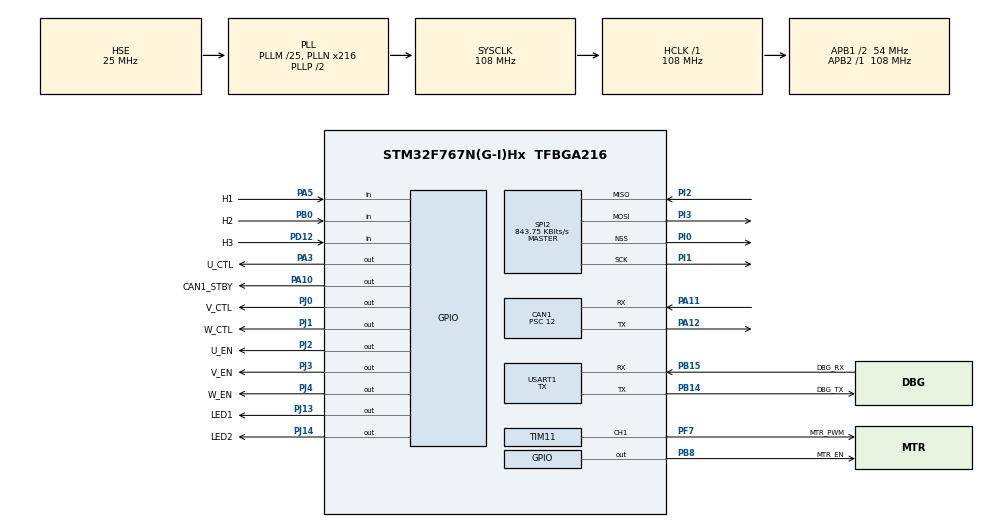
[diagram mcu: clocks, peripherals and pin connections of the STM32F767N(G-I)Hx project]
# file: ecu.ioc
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CAN1.ABOM=ENABLE
CAN1.AWUM=ENABLE
CAN1.BS1=CAN_BS1_15TQ
CAN1.BS2=CAN_BS2_2TQ
CAN1.CalculateBaudRate=250000
CAN1.CalculateTimeBit=4000
CAN1.CalculateTimeQuantum=222.22222222222223
CAN1.NART=ENABLE
CAN1.Prescaler=12
CAN1.TXFP=ENABLE
CORTEX_M7.CPU_DCache=Enabled
CORTEX_M7.CPU_ICache=Enabled
CORTEX_M7.MPU_Control=__NULL
CORTEX_M7.PREFETCH_ENABLE=1
FREERTOS.Queues01=EcoQueueUART1,256,uint8_t,0,Static,EcoQueueUART1Buffer,EcoQueueUART1CtrlBlock;EcoQueueNMEA2KRX1,32,uint8_t,0,Static,EcoQueueNMEA2KRX1Buffer,EcoQueueNMEA2KRX1CtrlBlock;EcoQueueNMEA2KTX1,384,uint8_t,0,Static,EcoQueueNMEA2KTX1Buffer,EcoQueueNMEA2KTX1CtrlBlock
FREERTOS.Tasks01=EcoTaskMain,24,4096,runEcoTaskMain,As weak,NULL,Dynamic,NULL,NULL;EcoTaskUART,24,1024,runEcoTaskUART,As weak,NULL,Dynamic,NULL,NULL;EcoTaskNMEA2KRx,40,1024,runEcoTaskNMEA2KRx,As weak,NULL,Dynamic,NULL,NULL;EcoTaskNMEA2KTx,24,1024,runEcoTaskNMEA2KTx,As weak,NULL,Dynamic,NULL,NULL;EcoTaskMTR,40,2048,runEcoTaskMTR,As external,NULL,Dynamic,NULL,NULL
FREERTOS.configMINIMAL_STACK_SIZE=128
FREERTOS.configTOTAL_HEAP_SIZE=0xC000
FREERTOS.configUSE_NEWLIB_REENTRANT=1
Mcu.Family=STM32F7
Mcu.Name=STM32F767N(G-I)Hx
Mcu.Package=TFBGA216
NVIC.CAN1_RX0_IRQn=true\:5\:0\:false\:false\:true\:true\:true\:true\:true
NVIC.CAN1_TX_IRQn=true\:5\:0\:false\:false\:true\:true\:true\:true\:true
NVIC.PriorityGroup=NVIC_PRIORITYGROUP_4
NVIC.TIM6_DAC_IRQn=true\:15\:0\:false\:false\:true\:false\:false\:true\:true
NVIC.TIM7_IRQn=true\:5\:0\:false\:false\:true\:true\:true\:true\:true
NVIC.TimeBase=TIM6_DAC_IRQn
NVIC.TimeBaseIP=TIM6
NVIC.USART1_IRQn=true\:5\:0\:false\:false\:true\:true\:true\:true\:true
PA10.GPIO_Label=CAN1_STBY
PA10.Signal=GPIO_Output
PA11.Mode=CAN_Activate
PA11.Signal=CAN1_RX
PA12.Mode=CAN_Activate
PA12.Signal=CAN1_TX
PA13.Mode=Serial_Wire
PA13.Signal=SYS_JTMS-SWDIO
PA14.Mode=Serial_Wire
PA14.Signal=SYS_JTCK-SWCLK
PA3.GPIO_Label=U_CTL
PA3.GPIO_Speed=GPIO_SPEED_FREQ_VERY_HIGH
PA3.Signal=GPIO_Output
PA5.GPIO_Label=H1
PA5.Signal=GPIO_Input
PB0.GPIO_Label=H2
PB0.Signal=GPIO_Input
PB14.GPIO_Label=DBG_TX
PB14.Mode=Asynchronous
PB14.Signal=USART1_TX
PB15.GPIO_Label=DBG_RX
PB15.Mode=Asynchronous
PB15.Signal=USART1_RX
PB8.GPIO_Label=MTR_EN
PB8.Signal=GPIO_Output
PD12.GPIO_Label=H3
PD12.Signal=GPIO_Input
PF7.GPIO_Label=MTR_PWM
PF7.Signal=S_TIM11_CH1
PH0/OSC_IN.Mode=HSE-External-Oscillator
PH0/OSC_IN.Signal=RCC_OSC_IN
PH1/OSC_OUT.Mode=HSE-External-Oscillator
PH1/OSC_OUT.Signal=RCC_OSC_OUT
PI0.Mode=NSS_Signal_Hard_Output
PI0.Signal=SPI2_NSS
PI1.Mode=Full_Duplex_Master
PI1.Signal=SPI2_SCK
PI2.Mode=Full_Duplex_Master
PI2.Signal=SPI2_MISO
PI3.Mode=Full_Duplex_Master
PI3.Signal=SPI2_MOSI
PJ0.GPIO_Label=V_CTL
PJ0.GPIO_Speed=GPIO_SPEED_FREQ_VERY_HIGH
PJ0.Signal=GPIO_Output
PJ1.GPIO_Label=W_CTL
PJ1.GPIO_Speed=GPIO_SPEED_FREQ_VERY_HIGH
PJ1.Signal=GPIO_Output
PJ13.GPIO_Label=LED1
PJ13.Signal=GPIO_Output
PJ14.GPIO_Label=LED2
PJ14.PinState=GPIO_PIN_SET
PJ14.Signal=GPIO_Output
PJ2.GPIO_Label=U_EN
PJ2.GPIO_Speed=GPIO_SPEED_FREQ_VERY_HIGH
PJ2.Signal=GPIO_Output
PJ3.GPIO_Label=V_EN
PJ3.GPIO_Speed=GPIO_SPEED_FREQ_VERY_HIGH
PJ3.Signal=GPIO_Output
PJ4.GPIO_Label=W_EN
PJ4.GPIO_Speed=GPIO_SPEED_FREQ_VERY_HIGH
PJ4.Signal=GPIO_Output
ProjectManager.HeapSize=0x1000
ProjectManager.StackSize=0x1000
ProjectManager.TargetToolchain=STM32CubeIDE
RCC.AHBFreq_Value=108000000
RCC.APB1CLKDivider=RCC_HCLK_DIV2
RCC.APB1Freq_Value=54000000
RCC.APB1TimFreq_Value=108000000
RCC.APB2Freq_Value=108000000
RCC.APB2TimFreq_Value=108000000
RCC.CortexFreq_Value=108000000
RCC.HCLKFreq_Value=108000000
RCC.HSE_VALUE=25000000
RCC.HSI_VALUE=16000000
RCC.LSE_VALUE=32768
RCC.PLLM=25
RCC.PLLN=216
RCC.PLLSAIN=400
RCC.PLLSAIR=4
RCC.PLLSAIRDiv=RCC_PLLSAIDIVR_4
RCC.PLLSourceVirtual=RCC_PLLSOURCE_HSE
RCC.SYSCLKFreq_VALUE=108000000
RCC.SYSCLKSource=RCC_SYSCLKSOURCE_PLLCLK
RCC.USBFreq_Value=108000000
RCC.VCOOutputFreq_Value=216000000
SH.S_TIM11_CH1.0=TIM11_CH1,PWM Generation1 CH1
SPI2.BaudRatePrescaler=SPI_BAUDRATEPRESCALER_64
SPI2.CalculateBaudRate=843.75 KBits/s
SPI2.DataSize=SPI_DATASIZE_16BIT
SPI2.Direction=SPI_DIRECTION_2LINES
SPI2.Mode=SPI_MODE_MASTER
SPI2.TIMode=SPI_TIMODE_ENABLE
SPI2.VirtualNSS=VM_NSSHARD
SPI2.VirtualType=VM_MASTER
STMicroelectronics.X-CUBE-TOUCHGFX.4.23.0.tgfx_address1=0xC0000000
STMicroelectronics.X-CUBE-TOUCHGFX.4.23.0.tgfx_display_interface=disp_ltdc
STMicroelectronics.X-CUBE-TOUCHGFX.4.23.0.tgfx_hardware_accelerator=dma_2d
STMicroelectronics.X-CUBE-TOUCHGFX.4.23.0.tgfx_location=By Address
STMicroelectronics.X-CUBE-TOUCHGFX.4.23.0.tgfx_vsync=vsync_ltdc
STMicroelectronics.X-CUBE-TOUCHGFX.4.23.0_IsPackSelfContextualization=true
TIM11.Channel=TIM_CHANNEL_1
TIM11.Period=100-1
TIM11.Prescaler=108-1
TIM11.Pulse=100-1
TIM7.AutoReloadPreload=TIM_AUTORELOAD_PRELOAD_ENABLE
TIM7.Period=10000-1
TIM7.Prescaler=10800-1
USART1.Mode=MODE_TX
USART1.VirtualMode-Asynchronous=VM_ASYNC
VP_FREERTOS_VS_CMSIS_V2.Mode=CMSIS_V2
VP_SYS_VS_tim6.Mode=TIM6
VP_TIM11_VS_ClockSourceINT.Mode=Enable_Timer
VP_TIM7_VS_ClockSourceINT.Mode=Enable_Timer
board=custom

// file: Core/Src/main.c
/* USER CODE BEGIN Header */
/**
  ******************************************************************************
  * @file           : main.c
  * @brief          : Main program body
  ******************************************************************************
  * @attention
  *
  * Copyright (c) 2024 STMicroelectronics.
  * All rights reserved.
  *
  * This software is licensed under terms that can be found in the LICENSE file
  * in the root directory of this software component.
  * If no LICENSE file comes with this software, it is provided AS-IS.
  *
  ******************************************************************************
  */
/* USER CODE END Header */
#include "main.h"
#include "cmsis_os.h"

typedef StaticQueue_t osStaticMessageQDef_t;

CAN_HandleTypeDef hcan1;

SPI_HandleTypeDef hspi2;

TIM_HandleTypeDef htim7;
TIM_HandleTypeDef htim11;

UART_HandleTypeDef huart1;

/* Definitions for EcoTaskMain */
osThreadId_t EcoTaskMainHandle;
const osThreadAttr_t EcoTaskMain_attributes = {
  .name = "EcoTaskMain",
  .stack_size = 4096 * 4,
  .priority = (osPriority_t) osPriorityNormal,
};
/* Definitions for EcoTaskUART */
osThreadId_t EcoTaskUARTHandle;
const osThreadAttr_t EcoTaskUART_attributes = {
  .name = "EcoTaskUART",
  .stack_size = 1024 * 4,
  .priority = (osPriority_t) osPriorityNormal,
};
/* Definitions for EcoTaskNMEA2KRx */
osThreadId_t EcoTaskNMEA2KRxHandle;
const osThreadAttr_t EcoTaskNMEA2KRx_attributes = {
  .name = "EcoTaskNMEA2KRx",
  .stack_size = 1024 * 4,
  .priority = (osPriority_t) osPriorityHigh,
};
/* Definitions for EcoTaskNMEA2KTx */
osThreadId_t EcoTaskNMEA2KTxHandle;
const osThreadAttr_t EcoTaskNMEA2KTx_attributes = {
  .name = "EcoTaskNMEA2KTx",
  .stack_size = 1024 * 4,
  .priority = (osPriority_t) osPriorityNormal,
};
/* Definitions for EcoTaskMTR */
osThreadId_t EcoTaskMTRHandle;
const osThreadAttr_t EcoTaskMTR_attributes = {
  .name = "EcoTaskMTR",
  .stack_size = 2048 * 4,
  .priority = (osPriority_t) osPriorityHigh,
};
/* Definitions for EcoQueueUART1 */
osMessageQueueId_t EcoQueueUART1Handle;
uint8_t EcoQueueUART1Buffer[ 256 * sizeof( uint8_t ) ];
osStaticMessageQDef_t EcoQueueUART1CtrlBlock;
const osMessageQueueAttr_t EcoQueueUART1_attributes = {
  .name = "EcoQueueUART1",
  .cb_mem = &EcoQueueUART1CtrlBlock,
  .cb_size = sizeof(EcoQueueUART1CtrlBlock),
  .mq_mem = &EcoQueueUART1Buffer,
  .mq_size = sizeof(EcoQueueUART1Buffer)
};
/* Definitions for EcoQueueNMEA2KRX1 */
osMessageQueueId_t EcoQueueNMEA2KRX1Handle;
uint8_t EcoQueueNMEA2KRX1Buffer[ 32 * sizeof( uint8_t ) ];
osStaticMessageQDef_t EcoQueueNMEA2KRX1CtrlBlock;
const osMessageQueueAttr_t EcoQueueNMEA2KRX1_attributes = {
  .name = "EcoQueueNMEA2KRX1",
  .cb_mem = &EcoQueueNMEA2KRX1CtrlBlock,
  .cb_size = sizeof(EcoQueueNMEA2KRX1CtrlBlock),
  .mq_mem = &EcoQueueNMEA2KRX1Buffer,
  .mq_size = sizeof(EcoQueueNMEA2KRX1Buffer)
};
/* Definitions for EcoQueueNMEA2KTX1 */
osMessageQueueId_t EcoQueueNMEA2KTX1Handle;
uint8_t EcoQueueNMEA2KTX1Buffer[ 384 * sizeof( uint8_t ) ];
osStaticMessageQDef_t EcoQueueNMEA2KTX1CtrlBlock;
const osMessageQueueAttr_t EcoQueueNMEA2KTX1_attributes = {
  .name = "EcoQueueNMEA2KTX1",
  .cb_mem = &EcoQueueNMEA2KTX1CtrlBlock,
  .cb_size = sizeof(EcoQueueNMEA2KTX1CtrlBlock),
  .mq_mem = &EcoQueueNMEA2KTX1Buffer,
  .mq_size = sizeof(EcoQueueNMEA2KTX1Buffer)
};

void SystemClock_Config(void);
static void MX_GPIO_Init(void);
static void MX_USART1_UART_Init(void);
static void MX_CAN1_Init(void);
static void MX_TIM7_Init(void);
static void MX_SPI2_Init(void);
static void MX_TIM11_Init(void);
void runEcoTaskMain(void *argument);
void runEcoTaskUART(void *argument);
void runEcoTaskNMEA2KRx(void *argument);
void runEcoTaskNMEA2KTx(void *argument);
extern void runEcoTaskMTR(void *argument);

int main(void)
{
/* Enable the CPU Cache */

  /* Enable I-Cache---------------------------------------------------------*/
  SCB_EnableICache();

  /* Enable D-Cache---------------------------------------------------------*/
  SCB_EnableDCache();

  /* MCU Configuration--------------------------------------------------------*/

  /* Reset of all peripherals, Initializes the Flash interface and the Systick. */
  HAL_Init();

  /* Configure the system clock */
  SystemClock_Config();

  /* Initialize all configured peripherals */
  MX_GPIO_Init();
  MX_USART1_UART_Init();
  MX_CAN1_Init();
  MX_TIM7_Init();
  MX_SPI2_Init();
  MX_TIM11_Init();

  /* Init scheduler */
  osKernelInitialize();

  /* Create the queue(s) */
  /* creation of EcoQueueUART1 */
  EcoQueueUART1Handle = osMessageQueueNew (256, sizeof(uint8_t), &EcoQueueUART1_attributes);

  /* creation of EcoQueueNMEA2KRX1 */
  EcoQueueNMEA2KRX1Handle = osMessageQueueNew (32, sizeof(uint8_t), &EcoQueueNMEA2KRX1_attributes);

  /* creation of EcoQueueNMEA2KTX1 */
  EcoQueueNMEA2KTX1Handle = osMessageQueueNew (384, sizeof(uint8_t), &EcoQueueNMEA2KTX1_attributes);

  /* Create the thread(s) */
  /* creation of EcoTaskMain */
  EcoTaskMainHandle = osThreadNew(runEcoTaskMain, NULL, &EcoTaskMain_attributes);

  /* creation of EcoTaskUART */
  EcoTaskUARTHandle = osThreadNew(runEcoTaskUART, NULL, &EcoTaskUART_attributes);

  /* creation of EcoTaskNMEA2KRx */
  EcoTaskNMEA2KRxHandle = osThreadNew(runEcoTaskNMEA2KRx, NULL, &EcoTaskNMEA2KRx_attributes);

  /* creation of EcoTaskNMEA2KTx */
  EcoTaskNMEA2KTxHandle = osThreadNew(runEcoTaskNMEA2KTx, NULL, &EcoTaskNMEA2KTx_attributes);

  /* creation of EcoTaskMTR */
  EcoTaskMTRHandle = osThreadNew(runEcoTaskMTR, NULL, &EcoTaskMTR_attributes);

  /* Start scheduler */
  osKernelStart();

  /* We should never get here as control is now taken by the scheduler */
  /* Infinite loop */
  while (1)
  {

  }
}

void SystemClock_Config(void)
{
  RCC_OscInitTypeDef RCC_OscInitStruct = {0};
  RCC_ClkInitTypeDef RCC_ClkInitStruct = {0};

  /** Configure the main internal regulator output voltage
  */
  __HAL_RCC_PWR_CLK_ENABLE();
  __HAL_PWR_VOLTAGESCALING_CONFIG(PWR_REGULATOR_VOLTAGE_SCALE3);

  /** Initializes the RCC Oscillators according to the specified parameters
  * in the RCC_OscInitTypeDef structure.
  */
  RCC_OscInitStruct.OscillatorType = RCC_OSCILLATORTYPE_HSE;
  RCC_OscInitStruct.HSEState = RCC_HSE_ON;
  RCC_OscInitStruct.PLL.PLLState = RCC_PLL_ON;
  RCC_OscInitStruct.PLL.PLLSource = RCC_PLLSOURCE_HSE;
  RCC_OscInitStruct.PLL.PLLM = 25;
  RCC_OscInitStruct.PLL.PLLN = 216;
  RCC_OscInitStruct.PLL.PLLP = RCC_PLLP_DIV2;
  RCC_OscInitStruct.PLL.PLLQ = 2;
  RCC_OscInitStruct.PLL.PLLR = 2;
  if (HAL_RCC_OscConfig(&RCC_OscInitStruct) != HAL_OK)
  {
    Error_Handler();
  }

  /** Activate the Over-Drive mode
  */
  if (HAL_PWREx_EnableOverDrive() != HAL_OK)
  {
    Error_Handler();
  }

  /** Initializes the CPU, AHB and APB buses clocks
  */
  RCC_ClkInitStruct.ClockType = RCC_CLOCKTYPE_HCLK|RCC_CLOCKTYPE_SYSCLK
                              |RCC_CLOCKTYPE_PCLK1|RCC_CLOCKTYPE_PCLK2;
  RCC_ClkInitStruct.SYSCLKSource = RCC_SYSCLKSOURCE_PLLCLK;
  RCC_ClkInitStruct.AHBCLKDivider = RCC_SYSCLK_DIV1;
  RCC_ClkInitStruct.APB1CLKDivider = RCC_HCLK_DIV2;
  RCC_ClkInitStruct.APB2CLKDivider = RCC_HCLK_DIV1;

  if (HAL_RCC_ClockConfig(&RCC_ClkInitStruct, FLASH_LATENCY_3) != HAL_OK)
  {
    Error_Handler();
  }
}

static void MX_CAN1_Init(void)
{

  /* USER CODE BEGIN CAN1_Init 0 */
    CAN_FilterTypeDef  sFilterConfig;

  /* USER CODE END CAN1_Init 0 */

  hcan1.Instance = CAN1;
  hcan1.Init.Prescaler = 12;
  hcan1.Init.Mode = CAN_MODE_NORMAL;
  hcan1.Init.SyncJumpWidth = CAN_SJW_1TQ;
  hcan1.Init.TimeSeg1 = CAN_BS1_15TQ;
  hcan1.Init.TimeSeg2 = CAN_BS2_2TQ;
  hcan1.Init.TimeTriggeredMode = DISABLE;
  hcan1.Init.AutoBusOff = ENABLE;
  hcan1.Init.AutoWakeUp = ENABLE;
  hcan1.Init.AutoRetransmission = ENABLE;
  hcan1.Init.ReceiveFifoLocked = DISABLE;
  hcan1.Init.TransmitFifoPriority = ENABLE;
  if (HAL_CAN_Init(&hcan1) != HAL_OK)
  {
    Error_Handler();
  }
  /* USER CODE BEGIN CAN1_Init 2 */
  /* Configure the CAN Filter */
  sFilterConfig.FilterBank = 0;
  sFilterConfig.FilterMode = CAN_FILTERMODE_IDMASK;
  sFilterConfig.FilterScale = CAN_FILTERSCALE_32BIT;
  sFilterConfig.FilterIdHigh = 0x0000;
  sFilterConfig.FilterIdLow = 0x0000;
  sFilterConfig.FilterMaskIdHigh = 0x0000;
  sFilterConfig.FilterMaskIdLow = 0x0000;
  sFilterConfig.FilterFIFOAssignment = CAN_FILTER_FIFO0;
  sFilterConfig.FilterActivation = ENABLE;
  sFilterConfig.SlaveStartFilterBank = 14;

  /* Filter configuration Error */
  if(HAL_CAN_ConfigFilter(&hcan1, &sFilterConfig) != HAL_OK) Error_Handler();

  /* Start the CAN peripheral */
  if(HAL_CAN_Start(&hcan1) != HAL_OK) Error_Handler();

  /* Activate CAN RX notification */
  if (HAL_CAN_ActivateNotification(&hcan1, CAN_IT_RX_FIFO0_MSG_PENDING) != HAL_OK) Error_Handler();

  /* USER CODE END CAN1_Init 2 */

}

static void MX_SPI2_Init(void)
{

  /* SPI2 parameter configuration*/
  hspi2.Instance = SPI2;
  hspi2.Init.Mode = SPI_MODE_MASTER;
  hspi2.Init.Direction = SPI_DIRECTION_2LINES;
  hspi2.Init.DataSize = SPI_DATASIZE_16BIT;
  hspi2.Init.NSS = SPI_NSS_HARD_OUTPUT;
  hspi2.Init.BaudRatePrescaler = SPI_BAUDRATEPRESCALER_64;
  hspi2.Init.TIMode = SPI_TIMODE_ENABLE;
  hspi2.Init.CRCCalculation = SPI_CRCCALCULATION_DISABLE;
  hspi2.Init.CRCPolynomial = 7;
  hspi2.Init.CRCLength = SPI_CRC_LENGTH_DATASIZE;
  hspi2.Init.NSSPMode = SPI_NSS_PULSE_DISABLE;
  if (HAL_SPI_Init(&hspi2) != HAL_OK)
  {
    Error_Handler();
  }

}

static void MX_TIM7_Init(void)
{

  TIM_MasterConfigTypeDef sMasterConfig = {0};

  htim7.Instance = TIM7;
  htim7.Init.Prescaler = 10800-1;
  htim7.Init.CounterMode = TIM_COUNTERMODE_UP;
  htim7.Init.Period = 10000-1;
  htim7.Init.AutoReloadPreload = TIM_AUTORELOAD_PRELOAD_ENABLE;
  if (HAL_TIM_Base_Init(&htim7) != HAL_OK)
  {
    Error_Handler();
  }
  sMasterConfig.MasterOutputTrigger = TIM_TRGO_RESET;
  sMasterConfig.MasterSlaveMode = TIM_MASTERSLAVEMODE_DISABLE;
  if (HAL_TIMEx_MasterConfigSynchronization(&htim7, &sMasterConfig) != HAL_OK)
  {
    Error_Handler();
  }

}

static void MX_TIM11_Init(void)
{

  TIM_OC_InitTypeDef sConfigOC = {0};

  htim11.Instance = TIM11;
  htim11.Init.Prescaler = 108-1;
  htim11.Init.CounterMode = TIM_COUNTERMODE_UP;
  htim11.Init.Period = 100-1;
  htim11.Init.ClockDivision = TIM_CLOCKDIVISION_DIV1;
  htim11.Init.AutoReloadPreload = TIM_AUTORELOAD_PRELOAD_DISABLE;
  if (HAL_TIM_Base_Init(&htim11) != HAL_OK)
  {
    Error_Handler();
  }
  if (HAL_TIM_PWM_Init(&htim11) != HAL_OK)
  {
    Error_Handler();
  }
  sConfigOC.OCMode = TIM_OCMODE_PWM1;
  sConfigOC.Pulse = 100-1;
  sConfigOC.OCPolarity = TIM_OCPOLARITY_HIGH;
  sConfigOC.OCFastMode = TIM_OCFAST_DISABLE;
  if (HAL_TIM_PWM_ConfigChannel(&htim11, &sConfigOC, TIM_CHANNEL_1) != HAL_OK)
  {
    Error_Handler();
  }
  /* USER CODE BEGIN TIM11_Init 2 */
  HAL_TIM_PWM_Start(&htim11, TIM_CHANNEL_1);
  /* USER CODE END TIM11_Init 2 */
  HAL_TIM_MspPostInit(&htim11);

}

static void MX_USART1_UART_Init(void)
{

  huart1.Instance = USART1;
  huart1.Init.BaudRate = 115200;
  huart1.Init.WordLength = UART_WORDLENGTH_8B;
  huart1.Init.StopBits = UART_STOPBITS_1;
  huart1.Init.Parity = UART_PARITY_NONE;
  huart1.Init.Mode = UART_MODE_TX;
  huart1.Init.HwFlowCtl = UART_HWCONTROL_NONE;
  huart1.Init.OverSampling = UART_OVERSAMPLING_16;
  huart1.Init.OneBitSampling = UART_ONE_BIT_SAMPLE_DISABLE;
  huart1.AdvancedInit.AdvFeatureInit = UART_ADVFEATURE_NO_INIT;
  if (HAL_UART_Init(&huart1) != HAL_OK)
  {
    Error_Handler();
  }

}

static void MX_GPIO_Init(void)
{
  GPIO_InitTypeDef GPIO_InitStruct = {0};

  /* GPIO Ports Clock Enable */
  __HAL_RCC_GPIOB_CLK_ENABLE();
  __HAL_RCC_GPIOA_CLK_ENABLE();
  __HAL_RCC_GPIOJ_CLK_ENABLE();
  __HAL_RCC_GPIOI_CLK_ENABLE();
  __HAL_RCC_GPIOH_CLK_ENABLE();
  __HAL_RCC_GPIOF_CLK_ENABLE();
  __HAL_RCC_GPIOD_CLK_ENABLE();

  /*Configure GPIO pin Output Level */
  HAL_GPIO_WritePin(MTR_EN_GPIO_Port, MTR_EN_Pin, GPIO_PIN_RESET);

  /*Configure GPIO pin Output Level */
  HAL_GPIO_WritePin(GPIOJ, LED1_Pin|W_EN_Pin|V_EN_Pin|U_EN_Pin
                          |V_CTL_Pin|W_CTL_Pin, GPIO_PIN_RESET);

  /*Configure GPIO pin Output Level */
  HAL_GPIO_WritePin(LED2_GPIO_Port, LED2_Pin, GPIO_PIN_SET);

  /*Configure GPIO pin Output Level */
  HAL_GPIO_WritePin(GPIOA, CAN1_STBY_Pin|U_CTL_Pin, GPIO_PIN_RESET);

  /*Configure GPIO pin : MTR_EN_Pin */
  GPIO_InitStruct.Pin = MTR_EN_Pin;
  GPIO_InitStruct.Mode = GPIO_MODE_OUTPUT_PP;
  GPIO_InitStruct.Pull = GPIO_NOPULL;
  GPIO_InitStruct.Speed = GPIO_SPEED_FREQ_LOW;
  HAL_GPIO_Init(MTR_EN_GPIO_Port, &GPIO_InitStruct);

  /*Configure GPIO pins : LED1_Pin LED2_Pin */
  GPIO_InitStruct.Pin = LED1_Pin|LED2_Pin;
  GPIO_InitStruct.Mode = GPIO_MODE_OUTPUT_PP;
  GPIO_InitStruct.Pull = GPIO_NOPULL;
  GPIO_InitStruct.Speed = GPIO_SPEED_FREQ_LOW;
  HAL_GPIO_Init(GPIOJ, &GPIO_InitStruct);

  /*Configure GPIO pin : CAN1_STBY_Pin */
  GPIO_InitStruct.Pin = CAN1_STBY_Pin;
  GPIO_InitStruct.Mode = GPIO_MODE_OUTPUT_PP;
  GPIO_InitStruct.Pull = GPIO_NOPULL;
  GPIO_InitStruct.Speed = GPIO_SPEED_FREQ_LOW;
  HAL_GPIO_Init(CAN1_STBY_GPIO_Port, &GPIO_InitStruct);

  /*Configure GPIO pins : W_EN_Pin V_EN_Pin U_EN_Pin V_CTL_Pin
                           W_CTL_Pin */
  GPIO_InitStruct.Pin = W_EN_Pin|V_EN_Pin|U_EN_Pin|V_CTL_Pin
                          |W_CTL_Pin;
  GPIO_InitStruct.Mode = GPIO_MODE_OUTPUT_PP;
  GPIO_InitStruct.Pull = GPIO_NOPULL;
  GPIO_InitStruct.Speed = GPIO_SPEED_FREQ_VERY_HIGH;
  HAL_GPIO_Init(GPIOJ, &GPIO_InitStruct);

  /*Configure GPIO pin : H3_Pin */
  GPIO_InitStruct.Pin = H3_Pin;
  GPIO_InitStruct.Mode = GPIO_MODE_INPUT;
  GPIO_InitStruct.Pull = GPIO_NOPULL;
  HAL_GPIO_Init(H3_GPIO_Port, &GPIO_InitStruct);

  /*Configure GPIO pin : H1_Pin */
  GPIO_InitStruct.Pin = H1_Pin;
  GPIO_InitStruct.Mode = GPIO_MODE_INPUT;
  GPIO_InitStruct.Pull = GPIO_NOPULL;
  HAL_GPIO_Init(H1_GPIO_Port, &GPIO_InitStruct);

  /*Configure GPIO pin : U_CTL_Pin */
  GPIO_InitStruct.Pin = U_CTL_Pin;
  GPIO_InitStruct.Mode = GPIO_MODE_OUTPUT_PP;
  GPIO_InitStruct.Pull = GPIO_NOPULL;
  GPIO_InitStruct.Speed = GPIO_SPEED_FREQ_VERY_HIGH;
  HAL_GPIO_Init(U_CTL_GPIO_Port, &GPIO_InitStruct);

  /*Configure GPIO pin : H2_Pin */
  GPIO_InitStruct.Pin = H2_Pin;
  GPIO_InitStruct.Mode = GPIO_MODE_INPUT;
  GPIO_InitStruct.Pull = GPIO_NOPULL;
  HAL_GPIO_Init(H2_GPIO_Port, &GPIO_InitStruct);

}

__weak void runEcoTaskMain(void *argument)
{
  for(;;)
  {
    osDelay(1);
  }
}

__weak void runEcoTaskUART(void *argument)
{
  for(;;)
  {
    osDelay(1);
  }
}

__weak void runEcoTaskNMEA2KRx(void *argument)
{
  for(;;)
  {
    osDelay(1);
  }
}

__weak void runEcoTaskNMEA2KTx(void *argument)
{
  for(;;)
  {
    osDelay(1);
  }
}

void HAL_TIM_PeriodElapsedCallback(TIM_HandleTypeDef *htim)
{
  if (htim->Instance == TIM6) {
    HAL_IncTick();
  }
}

void Error_Handler(void)
{
  __disable_irq();
  while (1)
  {
  }
}
